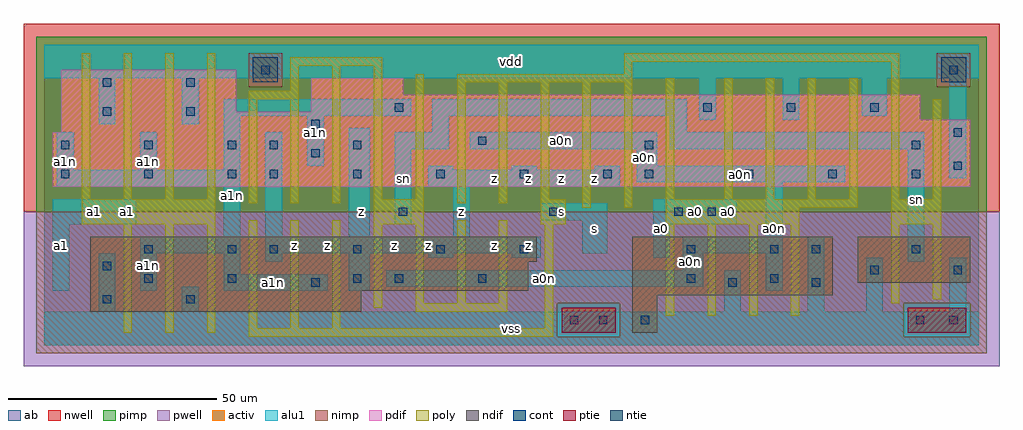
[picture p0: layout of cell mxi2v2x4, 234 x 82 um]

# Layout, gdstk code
import gdstk
lib = gdstk.Library(unit=1e-6, precision=1e-09)
def R(c, l, rs):  # rectangles x0, y0, x1, y1
    for r in rs: c.add(gdstk.rectangle(r[:2], r[2:], *l))
def A(c, l, x, y, w, h, nx, ny, dx, dy):  # array of equal rectangles
    R(c, l, [(x+i*dx, y+j*dy, x+i*dx+w, y+j*dy+h) for i in range(nx) for j in range(ny)])
ndif = (3, 0)
pdif = (4, 0)
ntie = (5, 0)
ptie = (6, 0)
cont = (25, 0)
pwell = (41, 0)
nwell = (42, 0)
activ = (43, 0)
pimp = (44, 0)
nimp = (45, 0)
poly = (46, 0)
alu1 = (49, 0)
ab = (63, 0)

mxi2v2x4 = lib.new_cell('mxi2v2x4')
R(mxi2v2x4, ndif, [(141,3,147,12), (11,8,76,13), (141,12,189,26), (11,13,116,20), (195,15,222,26), (11,20,118,26)])
R(mxi2v2x4, pdif, [(2,38,222,51), (4,51,222,54), (4,54,210,56), (4,56,46,66), (64,56,210,60), (64,60,86,64)])
R(mxi2v2x4, ntie, [(50,63,56,69), (215,63,221,69)])
R(mxi2v2x4, ptie, [(124,3,137,9), (207,3,221,9)])
A(mxi2v2x4, cont, 54, 22, 2, 2, 4, 1, 20, 0)
A(mxi2v2x4, cont, 4, 40, 2, 2, 3, 2, 20, 7)
A(mxi2v2x4, cont, 54, 40, 2, 2, 5, 1, 20, 0)
A(mxi2v2x4, cont, 168, 40, 2, 2, 3, 1, 20, 0)
A(mxi2v2x4, cont, 158, 56, 2, 2, 3, 1, 20, 0)
R(mxi2v2x4, cont, [(126,5,128,7), (133,5,135,7), (143,5,145,7), (209,5,211,7), (217,5,219,7), (14,10,16,12), (34,10,36,12), (64,14,66,16), (164,14,166,16), (184,14,186,16), (24,15,26,17), (44,15,46,17), (74,15,76,17), (84,15,86,17), (104,15,106,17), (154,15,156,17), (174,15,176,17), (198,17,200,19), (218,17,220,19), (14,18,16,20), (24,22,26,24), (44,22,46,24), (154,22,156,24), (174,22,176,24), (184,22,186,24), (208,22,210,24), (11,31,13,33), (19,31,21,33), (85,31,87,33), (121,31,123,33), (151,31,153,33), (159,31,161,33), (144,40,146,42), (218,42,220,44), (64,45,66,47), (54,47,56,49), (74,47,76,49), (144,47,146,49), (208,47,210,49), (104,48,106,50), (124,48,126,50), (218,50,220,52), (64,52,66,54), (14,55,16,57), (34,55,36,57), (84,56,86,58), (14,62,16,64), (34,62,36,64), (52,65,54,67), (217,65,219,67)])
R(mxi2v2x4, pwell, [(-5,-5,229,32)])
R(mxi2v2x4, nwell, [(-5,32,229,77)])
R(mxi2v2x4, activ, [(124,3,137,9), (141,3,147,12), (207,3,221,9), (11,8,76,13), (141,12,189,26), (11,13,116,20), (195,15,222,26), (11,20,118,26), (2,38,222,51), (4,51,222,54), (4,54,210,56), (4,56,46,66), (64,56,210,60), (64,60,86,64), (50,63,56,69), (215,63,221,69)])
R(mxi2v2x4, pimp, [(123,2,138,10), (206,2,222,10), (-2,32,226,62), (-2,62,49,70), (57,62,214,70), (222,62,226,70), (-2,70,226,74)])
R(mxi2v2x4, nimp, [(-2,-2,226,2), (-2,2,123,10), (138,2,206,10), (222,2,226,10), (-2,10,226,32), (49,62,57,70), (214,62,222,70)])
A(mxi2v2x4, poly, 19, 3, 2, 26, 3, 1, 10, 0)
A(mxi2v2x4, poly, 49, 4, 2, 26, 3, 1, 10, 0)
A(mxi2v2x4, poly, 149, 7, 2, 22, 4, 1, 10, 0)
A(mxi2v2x4, poly, 9, 35, 2, 35, 4, 1, 10, 0)
A(mxi2v2x4, poly, 163, 35, 2, 29, 4, 1, 10, 0)
R(mxi2v2x4, poly, [(49,2,122,4), (120,4,122,29), (89,8,111,10), (79,9,81,29), (89,10,91,29), (99,10,101,30), (109,10,111,30), (203,10,205,29), (213,11,215,29), (9,29,41,35), (79,29,91,35), (119,29,125,35), (149,29,181,33), (203,29,215,35), (129,33,131,63), (139,33,141,63), (149,33,195,35), (49,34,51,59), (59,34,61,59), (69,34,71,67), (99,34,101,63), (109,34,111,63), (79,35,81,67), (89,35,91,65), (119,35,121,63), (149,35,151,64), (203,35,205,68), (213,35,215,59), (49,59,61,61), (59,61,61,67), (99,63,141,65), (139,65,141,68), (59,67,81,69), (139,68,205,70)])
A(mxi2v2x4, alu1, 92, 42, 6, 1, 3, 1, 20, 0)
R(mxi2v2x4, alu1, [(0,0,224,8), (13,8,17,22), (33,8,37,14), (163,8,167,18), (183,8,187,26), (197,8,201,21), (217,8,221,21), (2,13,6,29), (23,13,27,22), (43,13,68,17), (73,13,78,22), (173,13,177,22), (82,14,158,18), (43,17,47,22), (153,18,158,22), (53,20,57,22), (207,20,211,47), (92,21,98,22), (112,21,119,22), (146,21,150,29), (23,22,47,26), (53,22,119,26), (129,22,135,30), (153,22,177,26), (43,26,47,38), (53,26,57,51), (73,26,78,52), (98,26,102,38), (173,26,177,39), (2,29,22,35), (84,29,88,47), (146,29,166,35), (119,30,135,34), (3,38,47,42), (92,38,138,42), (142,39,192,43), (217,40,221,64), (3,42,7,51), (23,42,27,51), (43,42,47,55), (63,43,67,55), (142,43,147,47), (84,47,97,51), (102,47,147,51), (150,47,211,51), (93,51,97,55), (150,51,154,55), (13,53,17,64), (33,53,37,64), (157,54,161,64), (177,54,181,64), (43,55,88,59), (93,55,154,59), (196,55,202,64), (0,64,224,72)])
R(mxi2v2x4, ab, [(0,0,224,72)])
mxi2v2x4.add(gdstk.Label('a1n', (25,19), layer=49, texttype=0))
mxi2v2x4.add(gdstk.Label('a1n', (5,44), layer=49, texttype=0))
mxi2v2x4.add(gdstk.Label('a1n', (25,44), layer=49, texttype=0))
mxi2v2x4.add(gdstk.Label('a1n', (45,36), layer=49, texttype=0))
mxi2v2x4.add(gdstk.Label('a1n', (55,15), layer=49, texttype=0))
mxi2v2x4.add(gdstk.Label('sn', (86,40), layer=49, texttype=0))
mxi2v2x4.add(gdstk.Label('a1n', (65,51), layer=49, texttype=0))
mxi2v2x4.add(gdstk.Label('a0n', (120,16), layer=49, texttype=0))
mxi2v2x4.add(gdstk.Label('a0n', (155,20), layer=49, texttype=0))
mxi2v2x4.add(gdstk.Label('a0n', (124,49), layer=49, texttype=0))
mxi2v2x4.add(gdstk.Label('a0n', (144,45), layer=49, texttype=0))
mxi2v2x4.add(gdstk.Label('a0n', (175,28), layer=49, texttype=0))
mxi2v2x4.add(gdstk.Label('sn', (209,35), layer=49, texttype=0))
mxi2v2x4.add(gdstk.Label('a0n', (167,41), layer=49, texttype=0))
mxi2v2x4.add(gdstk.Label('a1', (4,24), layer=49, texttype=0))
mxi2v2x4.add(gdstk.Label('a1', (20,32), layer=49, texttype=0))
mxi2v2x4.add(gdstk.Label('a1', (12,32), layer=49, texttype=0))
mxi2v2x4.add(gdstk.Label('z', (100,32), layer=49, texttype=0))
mxi2v2x4.add(gdstk.Label('z', (108,24), layer=49, texttype=0))
mxi2v2x4.add(gdstk.Label('z', (92,24), layer=49, texttype=0))
mxi2v2x4.add(gdstk.Label('z', (76,32), layer=49, texttype=0))
mxi2v2x4.add(gdstk.Label('z', (60,24), layer=49, texttype=0))
mxi2v2x4.add(gdstk.Label('z', (68,24), layer=49, texttype=0))
mxi2v2x4.add(gdstk.Label('z', (84,24), layer=49, texttype=0))
mxi2v2x4.add(gdstk.Label('z', (108,40), layer=49, texttype=0))
mxi2v2x4.add(gdstk.Label('vss', (112,4), layer=49, texttype=0))
mxi2v2x4.add(gdstk.Label('z', (116,24), layer=49, texttype=0))
mxi2v2x4.add(gdstk.Label('a0', (148,28), layer=49, texttype=0))
mxi2v2x4.add(gdstk.Label('a0', (156,32), layer=49, texttype=0))
mxi2v2x4.add(gdstk.Label('a0', (164,32), layer=49, texttype=0))
mxi2v2x4.add(gdstk.Label('s', (132,28), layer=49, texttype=0))
mxi2v2x4.add(gdstk.Label('s', (124,32), layer=49, texttype=0))
mxi2v2x4.add(gdstk.Label('z', (132,40), layer=49, texttype=0))
mxi2v2x4.add(gdstk.Label('z', (124,40), layer=49, texttype=0))
mxi2v2x4.add(gdstk.Label('z', (116,40), layer=49, texttype=0))
mxi2v2x4.add(gdstk.Label('vdd', (112,68), layer=49, texttype=0))

lib.write_gds('mxi2v2x4.gds')
